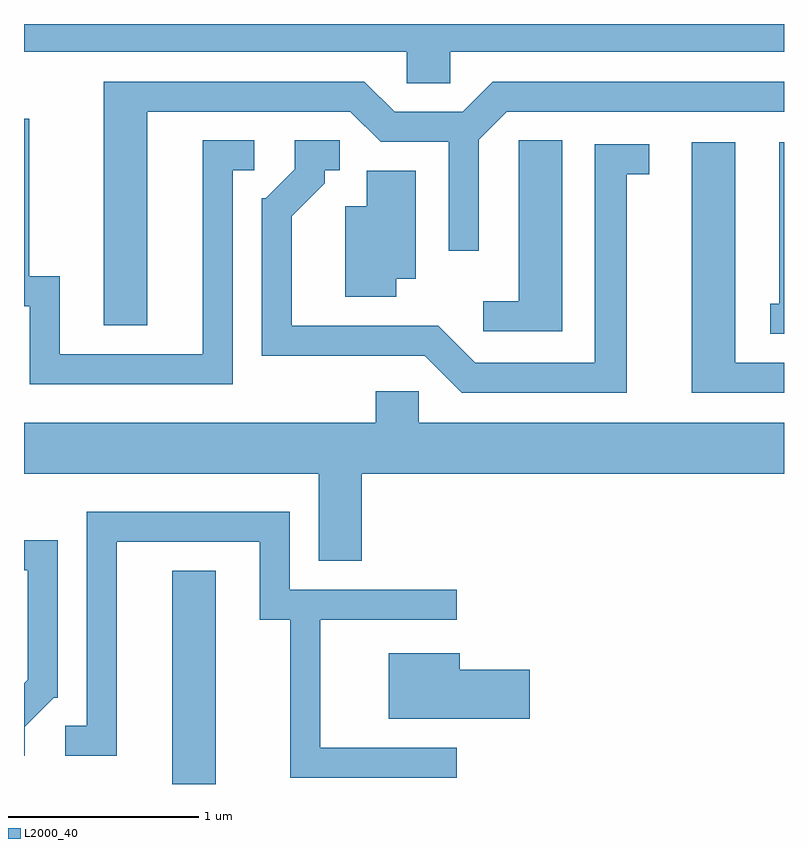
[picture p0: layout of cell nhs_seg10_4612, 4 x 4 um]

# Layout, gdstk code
import gdstk
lib = gdstk.Library(unit=1e-6, precision=1e-09)
def R(c, l, rs):  # rectangles x0, y0, x1, y1
    for r in rs: c.add(gdstk.rectangle(r[:2], r[2:], *l))
def P(c, l, *ps):  # polygons
    for p in ps: c.add(gdstk.Polygon(p, *l))
L2000_40 = (2000, 40)

nhs_seg10_4612 = lib.new_cell('nhs_seg10_4612')
R(nhs_seg10_4612, L2000_40, [(322.391,2094.522,322.619,2095.644)])
P(nhs_seg10_4612, L2000_40, [(321.611,2098.376),(323.626,2098.376),(323.626,2098.211),(323.854,2098.211),(323.854,2098.376),(325.611,2098.376),(325.611,2098.522),(321.611,2098.522)],
  [(322.259,2098.061),(323.329,2098.061),(323.489,2097.901),(323.846,2097.901),(323.846,2097.328),(324.004,2097.328),(324.004,2097.914),(324.152,2098.061),(325.611,2098.061),(325.611,2098.219),(324.079,2098.219),(323.919,2098.059),(323.562,2098.059),(323.402,2098.219),(322.031,2098.219),(322.031,2096.936),(322.259,2096.936)],
  [(322.709,2097.751),(322.823,2097.751),(322.823,2097.909),(322.551,2097.909),(322.551,2096.784),(321.799,2096.784),(321.799,2097.194),(321.639,2097.194),(321.639,2098.024),(321.611,2098.024),(321.611,2097.036),(321.641,2097.036),(321.641,2096.626),(322.709,2096.626)],
  [(324.784,2097.731),(324.903,2097.731),(324.903,2097.889),(324.616,2097.889),(324.616,2096.739),(323.987,2096.739),(323.792,2096.934),(323.019,2096.934),(323.019,2097.509),(323.194,2097.684),(323.194,2097.751),(323.273,2097.751),(323.273,2097.909),(323.036,2097.909),(323.036,2097.757),(322.884,2097.604),(322.861,2097.604),(322.861,2096.776),(323.719,2096.776),(323.914,2096.581),(324.784,2096.581)],
  [(324.444,2097.909),(324.216,2097.909),(324.216,2097.064),(324.028,2097.064),(324.028,2096.906),(324.444,2096.906)],
  [(325.611,2097.899),(325.586,2097.899),(325.586,2097.049),(325.538,2097.049),(325.538,2096.891),(325.611,2096.891)],
  [(325.611,2096.739),(325.354,2096.739),(325.354,2097.899),(325.126,2097.899),(325.126,2096.581),(325.611,2096.581)],
  [(323.569,2097.181),(323.674,2097.181),(323.674,2097.749),(323.416,2097.749),(323.416,2097.564),(323.301,2097.564),(323.301,2097.086),(323.569,2097.086)],
  [(323.389,2096.156),(325.611,2096.156),(325.611,2096.424),(323.689,2096.424),(323.689,2096.589),(323.461,2096.589),(323.461,2096.424),(321.611,2096.424),(321.611,2096.156),(323.161,2096.156),(323.161,2095.696),(323.389,2095.696)],
  [(323.888,2094.714),(323.169,2094.714),(323.169,2095.386),(323.888,2095.386),(323.888,2095.544),(323.009,2095.544),(323.009,2095.954),(321.941,2095.954),(321.941,2094.829),(321.828,2094.829),(321.828,2094.671),(322.099,2094.671),(322.099,2095.796),(322.851,2095.796),(322.851,2095.386),(323.011,2095.386),(323.011,2094.556),(323.888,2094.556)],
  [(321.614,2094.824),(321.767,2094.976),(321.789,2094.976),(321.789,2095.804),(321.611,2095.804),(321.611,2095.646),(321.631,2095.646),(321.631,2095.072),(321.611,2095.052),(321.611,2094.671),(321.614,2094.671)],
  [(324.274,2095.124),(323.904,2095.124),(323.904,2095.209),(323.531,2095.209),(323.531,2094.866),(324.274,2094.866)])

lib.write_gds('nhs_seg10_4612.gds')
